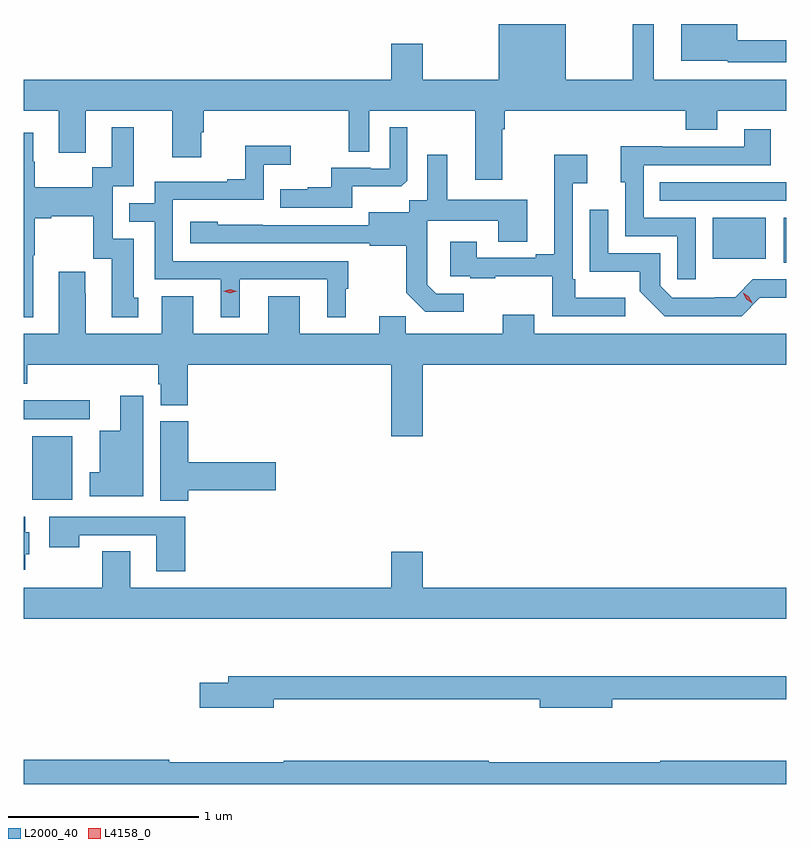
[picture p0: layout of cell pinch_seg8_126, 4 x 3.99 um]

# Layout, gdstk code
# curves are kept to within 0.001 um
import gdstk
lib = gdstk.Library(unit=1e-6, precision=1e-09)
def R(c, l, rs):  # rectangles x0, y0, x1, y1
    for r in rs: c.add(gdstk.rectangle(r[:2], r[2:], *l))
def P(c, l, *ps):  # polygons
    for p in ps: c.add(gdstk.Polygon(p, *l))
L2000_40 = (2000, 40)
L4158_0 = (4158, 0)

pinch_seg8_126 = lib.new_cell('pinch_seg8_126')
R(pinch_seg8_126, L2000_40, [(750.536,1150.424,750.748,1150.759), (750.492,1150.848,750.838,1150.946), (754.478,1151.669,754.492,1151.905), (754.106,1151.69,754.384,1151.905), (753.829,1151.994,754.492,1152.09)])
P(pinch_seg8_126, L2000_40, [(753.001,1152.368),(753.014,1152.368),(753.014,1152.464),(753.965,1152.464),(753.965,1152.365),(754.129,1152.365),(754.129,1152.464),(754.492,1152.464),(754.492,1152.628),(753.796,1152.628),(753.796,1152.92),(753.687,1152.92),(753.687,1152.628),(753.334,1152.628),(753.334,1152.92),(752.984,1152.92),(752.984,1152.628),(752.584,1152.628),(752.584,1152.817),(752.42,1152.817),(752.42,1152.628),(750.492,1152.628),(750.492,1152.464),(750.677,1152.464),(750.677,1152.246),(750.817,1152.246),(750.817,1152.464),(751.271,1152.464),(751.271,1152.222),(751.423,1152.222),(751.423,1152.351),(751.436,1152.351),(751.436,1152.464),(752.196,1152.464),(752.196,1152.25),(752.304,1152.25),(752.304,1152.464),(752.861,1152.464),(752.861,1152.102),(753.001,1152.102)],
  [(754.492,1152.836),(754.234,1152.836),(754.234,1152.92),(753.941,1152.92),(753.941,1152.728),(754.185,1152.728),(754.185,1152.72),(754.492,1152.72)],
  [(750.541,1151.707),(750.549,1151.707),(750.549,1151.9),(750.637,1151.9),(750.637,1151.912),(750.857,1151.912),(750.857,1151.688),(750.953,1151.688),(750.953,1151.382),(751.093,1151.382),(751.093,1151.484),(751.069,1151.484),(751.069,1151.793),(750.96,1151.793),(750.96,1152.069),(751.069,1152.069),(751.069,1152.379),(750.953,1152.379),(750.953,1152.17),(750.852,1152.17),(750.852,1152.064),(750.549,1152.064),(750.549,1152.198),(750.541,1152.198),(750.541,1152.349),(750.492,1152.349),(750.492,1151.381),(750.541,1151.381)],
  [(752.215,1152.068),(752.473,1152.068),(752.505,1152.099),(752.505,1152.379),(752.412,1152.379),(752.412,1152.162),(752.312,1152.162),(752.312,1152.165),(752.105,1152.165),(752.105,1152.064),(751.981,1152.064),(751.981,1152.052),(751.837,1152.052),(751.837,1151.955),(752.215,1151.955)],
  [(754.017,1151.904),(753.744,1151.904),(753.744,1152.18),(754.411,1152.18),(754.411,1152.367),(754.271,1152.367),(754.271,1152.276),(753.841,1152.276),(753.841,1152.278),(753.623,1152.278),(753.623,1152.09),(753.648,1152.09),(753.648,1151.808),(753.921,1151.808),(753.921,1151.58),(754.017,1151.58)],
  [(751.624,1151.58),(752.084,1151.58),(752.084,1151.381),(752.182,1151.381),(752.182,1151.532),(752.194,1151.532),(752.194,1151.676),(751.275,1151.676),(751.275,1151.997),(751.752,1151.997),(751.752,1152.182),(751.894,1152.182),(751.894,1152.281),(751.654,1152.281),(751.654,1152.106),(751.559,1152.106),(751.559,1152.093),(751.179,1152.093),(751.179,1151.979),(751.045,1151.979),(751.045,1151.883),(751.179,1151.883),(751.179,1151.58),(751.526,1151.58),(751.526,1151.381),(751.624,1151.381)],
  [(752.8,1151.505),(752.655,1151.505),(752.608,1151.552),(752.608,1151.647),(752.61,1151.647),(752.61,1151.888),(752.981,1151.888),(752.981,1151.779),(753.133,1151.779),(753.133,1151.998),(752.713,1151.998),(752.713,1152.235),(752.609,1152.235),(752.609,1151.996),(752.514,1151.996),(752.514,1151.932),(752.303,1151.932),(752.303,1151.865),(751.509,1151.866),(751.509,1151.884),(751.365,1151.884),(751.365,1151.769),(752.307,1151.769),(752.307,1151.757),(752.499,1151.757),(752.499,1151.511),(752.599,1151.411),(752.8,1151.411)],
  [(753.646,1151.485),(753.385,1151.485),(753.385,1151.581),(753.372,1151.581),(753.372,1152.086),(753.448,1152.086),(753.448,1152.235),(753.275,1152.235),(753.275,1151.713),(753.179,1151.713),(753.179,1151.694),(752.869,1151.694),(752.869,1151.779),(752.729,1151.779),(752.729,1151.598),(752.833,1151.598),(752.833,1151.586),(752.965,1151.586),(752.965,1151.597),(753.264,1151.597),(753.264,1151.388),(753.646,1151.388)],
  [(754.352,1151.483),(754.492,1151.483),(754.492,1151.58),(754.317,1151.58),(754.223,1151.486),(754.118,1151.486),(754.118,1151.484),(753.894,1151.484),(753.831,1151.547),(753.831,1151.718),(753.558,1151.718),(753.558,1151.947),(753.462,1151.947),(753.462,1151.621),(753.724,1151.621),(753.724,1151.519),(753.854,1151.388),(754.257,1151.388)],
  [(752.584,1151.132),(754.492,1151.132),(754.492,1151.296),(753.169,1151.296),(753.169,1151.395),(753.005,1151.395),(753.005,1151.296),(752.495,1151.296),(752.495,1151.387),(752.357,1151.387),(752.357,1151.296),(751.939,1151.296),(751.939,1151.491),(751.775,1151.491),(751.775,1151.296),(751.381,1151.296),(751.381,1151.491),(751.217,1151.491),(751.217,1151.296),(750.817,1151.296),(750.817,1151.507),(750.814,1151.507),(750.814,1151.62),(750.677,1151.62),(750.677,1151.296),(750.492,1151.296),(750.492,1151.033),(750.512,1151.033),(750.512,1151.132),(751.199,1151.132),(751.199,1151.031),(751.211,1151.031),(751.211,1150.921),(751.352,1150.921),(751.352,1151.132),(752.42,1151.132),(752.42,1150.758),(752.584,1150.758)],
  [(751.12,1150.969),(750.998,1150.969),(750.998,1150.786),(750.89,1150.786),(750.89,1150.57),(750.839,1150.57),(750.839,1150.442),(751.12,1150.442)],
  [(751.355,1150.475),(751.813,1150.475),(751.813,1150.622),(751.355,1150.622),(751.355,1150.836),(751.208,1150.836),(751.208,1150.42),(751.355,1150.42)],
  [(750.499,1150.14),(750.52,1150.14),(750.52,1150.254),(750.499,1150.254),(750.499,1150.336),(750.492,1150.336),(750.492,1150.058),(750.499,1150.058)],
  [(751.34,1150.335),(750.627,1150.335),(750.627,1150.176),(750.783,1150.176),(750.783,1150.239),(751.187,1150.239),(751.187,1150.05),(751.34,1150.05)],
  [(754.492,1149.964),(752.584,1149.964),(752.584,1150.153),(752.42,1150.153),(752.42,1149.964),(751.051,1149.964),(751.051,1150.154),(750.904,1150.154),(750.904,1149.964),(750.492,1149.964),(750.492,1149.8),(754.492,1149.8)],
  [(751.804,1149.378),(753.2,1149.378),(753.2,1149.335),(753.58,1149.335),(753.58,1149.378),(754.492,1149.378),(754.492,1149.499),(751.565,1149.499),(751.565,1149.465),(751.416,1149.465),(751.416,1149.335),(751.804,1149.335)],
  [(754.492,1149.055),(753.832,1149.055),(753.832,1149.047),(752.932,1149.047),(752.932,1149.055),(751.855,1149.055),(751.855,1149.047),(751.255,1149.047),(751.255,1149.062),(750.492,1149.062),(750.492,1148.934),(754.492,1148.934)])
P(pinch_seg8_126, L4158_0, [(751.575,1151.508),(751.54,1151.518),(751.539,1151.518),(751.54,1151.519),(751.575,1151.528),(751.61,1151.519),(751.611,1151.518),(751.61,1151.518)],
  [(754.312,1151.456),(754.281,1151.477),(754.265,1151.511),(754.265,1151.511),(754.265,1151.511),(754.296,1151.49),(754.312,1151.457),(754.312,1151.456)])

lib.write_gds('pinch_seg8_126.gds')
